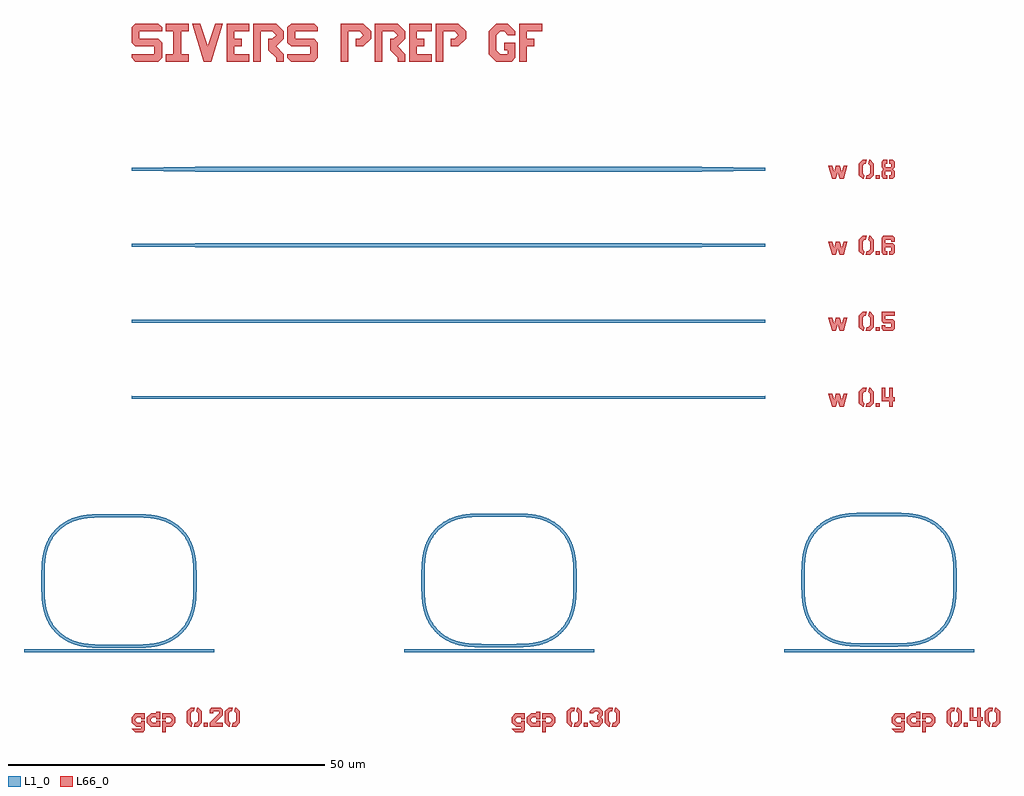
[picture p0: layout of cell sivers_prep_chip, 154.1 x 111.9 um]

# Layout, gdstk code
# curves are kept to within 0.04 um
from math import pi, radians
import gdstk
lib = gdstk.Library(unit=1e-6, precision=1e-09)
def R(c, l, rs):  # rectangles x0, y0, x1, y1
    for r in rs: c.add(gdstk.rectangle(r[:2], r[2:], *l))
def P(c, l, *ps):  # polygons
    for p in ps: c.add(gdstk.Polygon(p, *l))
L1_0 = (1, 0)
L66_0 = (66, 0)

coupler_ring_gdsfactoryp = lib.new_cell('coupler_ring_gdsfactorypcomponentspcouplerspcoupler_rin_cc478902')
R(coupler_ring_gdsfactoryp, L1_0, [(-17,-0.25,13,0.25)])
P(coupler_ring_gdsfactoryp, L1_0, [(-4.416,0.45),(-6.935,0.556),(-7.915,0.703),(-8.883,0.944),(-9.819,1.302),(-10.579,1.708),(-11.397,2.29),(-12.029,2.874),(-12.588,3.529),(-13.137,4.369),(-13.567,5.277),(-13.836,6.091),(-14.048,7.064),(-14.171,8.046),(-14.25,10.7),(-13.75,10.7),(-13.731,9.045),(-13.647,7.819),(-13.48,6.748),(-13.194,5.71),(-12.887,4.969),(-12.495,4.269),(-11.575,3.125),(-10.869,2.511),(-10.203,2.065),(-9.488,1.701),(-8.735,1.422),(-7.952,1.22),(-6.881,1.053),(-4.415,0.95),(1.243,0.958),(3.016,1.069),(4.084,1.249),(4.99,1.506),(5.731,1.813),(6.543,2.278),(7.283,2.85),(7.938,3.518),(8.495,4.269),(8.999,5.212),(9.353,6.223),(9.596,7.415),(9.719,8.772),(9.75,10.7),(10.25,10.7),(10.225,8.888),(10.128,7.625),(9.939,6.506),(9.618,5.411),(9.137,4.369),(8.5,3.415),(7.826,2.671),(6.939,1.944),(6.078,1.427),(5.289,1.082),(4.332,0.793),(3.216,0.59),(1.253,0.458)])

bend_euler_gdsfactorypco = lib.new_cell('bend_euler_gdsfactorypcomponentspbendspbend_euler_R10_A_a86bc407')
P(bend_euler_gdsfactorypco, L1_0, [(0,-0.25),(0,0.25),(1.655,0.269),(2.881,0.353),(3.952,0.52),(4.99,0.806),(5.731,1.113),(6.431,1.505),(7.575,2.425),(8.495,3.569),(8.887,4.269),(9.194,5.01),(9.48,6.048),(9.647,7.119),(9.731,8.345),(9.75,10),(10.25,10),(10.158,7.205),(10.023,6.224),(9.797,5.254),(9.457,4.312),(9.066,3.545),(8.5,2.715),(7.928,2.072),(7.285,1.5),(6.455,0.934),(5.688,0.543),(4.746,0.203),(3.776,-0.023),(2.795,-0.158)])

straight_gdsfactorypcomp = lib.new_cell('straight_gdsfactorypcomponentspwaveguidespstraight_L4_N_a6eac62c')
R(straight_gdsfactorypcomp, L1_0, [(0,-0.25,4,0.25)])

c_straight_gdsfactorypcomp = lib.new_cell('straight_gdsfactorypcomponentspwaveguidespstraight_L0p6_058e2168')
R(c_straight_gdsfactorypcomp, L1_0, [(0,-0.25,0.6,0.25)])

ring_single_gdsfactorypc = lib.new_cell('ring_single_gdsfactorypcomponentspringspring_single_G0p_35845a8c')
ring_single_gdsfactorypc.add(gdstk.Reference(coupler_ring_gdsfactoryp, (0,0)))
ring_single_gdsfactorypc.add(gdstk.Reference(bend_euler_gdsfactorypco, (-4,21.3), rotation=pi))
ring_single_gdsfactorypc.add(gdstk.Reference(bend_euler_gdsfactorypco, (10,11.3), rotation=pi/2))
ring_single_gdsfactorypc.add(gdstk.Reference(straight_gdsfactorypcomp, (0,21.3), rotation=pi))
ring_single_gdsfactorypc.add(gdstk.Reference(c_straight_gdsfactorypcomp, (-14,10.7), rotation=pi/2))
ring_single_gdsfactorypc.add(gdstk.Reference(c_straight_gdsfactorypcomp, (10,11.3), rotation=3*pi/2))

text_gdsfactorypcomponen = lib.new_cell('text_gdsfactorypcomponentsptextsptext_Tgap_0p20_S3_P0_0_d8aa2db2')
R(text_gdsfactorypcomponen, L66_0, [(11.4,0,12,0.6)])
P(text_gdsfactorypcomponen, L66_0, [(0.6,-0.9),(0,-0.3),(1.5,-0.3),(1.5,0),(0.702,0),(0,0.6),(0,1.5),(0.6,2.1),(2.1,2.1),(2.1,1.2),(1.5,1.2),(1.5,1.5),(0.9,1.5),(0.6,1.2),(0.6,0.9),(0.9,0.6),(1.5,0.6),(1.5,0.9),(2.1,0.9),(2.1,-0.6),(1.8,-0.9)],
  [(4.8,-0.9),(4.8,0.9),(5.4,0.9),(5.4,0.6),(6,0.6),(6.3,0.9),(6.3,1.2),(6,1.5),(5.4,1.5),(5.4,1.2),(4.8,1.2),(4.8,2.1),(6.3,2.1),(6.9,1.5),(6.9,0.6),(6.3,0),(5.4,0),(5.4,-0.9)],
  [(3,0),(2.4,0.6),(2.4,1.5),(3.102,2.1),(3.9,2.1),(3.9,2.325),(4.5,2.325),(4.5,1.2),(3.9,1.2),(3.9,1.5),(3.3,1.5),(3,1.2),(3,0.9),(3.3,0.6),(3.9,0.6),(3.9,0.9),(4.5,0.9),(4.5,0)],
  [(9.3,0),(8.7,0.6),(8.7,2.4),(9.3,3),(9.99,3),(9.84,2.4),(9.6,2.4),(9.3,2.1),(9.3,0.9),(9.6,0.6),(9.45,0)],
  [(9.81,0),(9.96,0.6),(10.2,0.6),(10.5,0.9),(10.5,2.1),(10.2,2.4),(10.35,3),(10.5,3),(11.1,2.4),(11.1,0.6),(10.5,0)],
  [(12.3,0),(12.3,0.6),(13.8,2.1),(13.8,2.4),(12.9,2.4),(12.9,2.1),(12.3,2.1),(12.3,2.7),(12.6,3),(14.1,3),(14.4,2.7),(14.4,1.8),(13.2,0.6),(14.4,0.6),(14.4,0)],
  [(15.3,0),(14.7,0.6),(14.7,2.4),(15.3,3),(15.99,3),(15.84,2.4),(15.6,2.4),(15.3,2.1),(15.3,0.9),(15.6,0.6),(15.45,0)],
  [(15.81,0),(15.96,0.6),(16.2,0.6),(16.5,0.9),(16.5,2.1),(16.2,2.4),(16.35,3),(16.5,3),(17.1,2.4),(17.1,0.6),(16.5,0)])

c_coupler_ring_gdsfactoryp = lib.new_cell('coupler_ring_gdsfactorypcomponentspcouplerspcoupler_rin_85e0116d')
R(c_coupler_ring_gdsfactoryp, L1_0, [(-17,-0.25,13,0.25)])
P(c_coupler_ring_gdsfactoryp, L1_0, [(-4.416,0.55),(-6.935,0.656),(-7.915,0.803),(-8.883,1.044),(-9.819,1.402),(-10.579,1.808),(-11.397,2.39),(-12.029,2.974),(-12.588,3.629),(-13.137,4.469),(-13.567,5.377),(-13.836,6.191),(-14.048,7.164),(-14.171,8.146),(-14.25,10.8),(-13.75,10.8),(-13.731,9.145),(-13.647,7.919),(-13.48,6.848),(-13.194,5.81),(-12.887,5.069),(-12.495,4.369),(-11.575,3.225),(-10.869,2.611),(-10.203,2.165),(-9.488,1.801),(-8.735,1.522),(-7.952,1.32),(-6.881,1.153),(-4.415,1.05),(1.243,1.058),(3.016,1.169),(4.084,1.349),(4.99,1.606),(5.731,1.913),(6.543,2.378),(7.283,2.95),(7.938,3.618),(8.495,4.369),(8.999,5.312),(9.353,6.323),(9.596,7.515),(9.719,8.872),(9.75,10.8),(10.25,10.8),(10.225,8.988),(10.128,7.725),(9.939,6.606),(9.618,5.511),(9.137,4.469),(8.5,3.515),(7.826,2.771),(6.939,2.044),(6.078,1.527),(5.289,1.182),(4.332,0.893),(3.216,0.69),(1.253,0.558)])

c_ring_single_gdsfactorypc = lib.new_cell('ring_single_gdsfactorypcomponentspringspring_single_G0p_d67012c7')
c_ring_single_gdsfactorypc.add(gdstk.Reference(c_coupler_ring_gdsfactoryp, (0,0)))
c_ring_single_gdsfactorypc.add(gdstk.Reference(bend_euler_gdsfactorypco, (-4,21.4), rotation=pi))
c_ring_single_gdsfactorypc.add(gdstk.Reference(bend_euler_gdsfactorypco, (10,11.4), rotation=pi/2))
c_ring_single_gdsfactorypc.add(gdstk.Reference(straight_gdsfactorypcomp, (0,21.4), rotation=pi))
c_ring_single_gdsfactorypc.add(gdstk.Reference(c_straight_gdsfactorypcomp, (-14,10.8), rotation=pi/2))
c_ring_single_gdsfactorypc.add(gdstk.Reference(c_straight_gdsfactorypcomp, (10,11.4), rotation=3*pi/2))

c_text_gdsfactorypcomponen = lib.new_cell('text_gdsfactorypcomponentsptextsptext_Tgap_0p30_S3_P0_0_021a1ff8')
R(c_text_gdsfactorypcomponen, L66_0, [(11.4,0,12,0.6)])
P(c_text_gdsfactorypcomponen, L66_0, [(0.6,-0.9),(0,-0.3),(1.5,-0.3),(1.5,0),(0.702,0),(0,0.6),(0,1.5),(0.6,2.1),(2.1,2.1),(2.1,1.2),(1.5,1.2),(1.5,1.5),(0.9,1.5),(0.6,1.2),(0.6,0.9),(0.9,0.6),(1.5,0.6),(1.5,0.9),(2.1,0.9),(2.1,-0.6),(1.8,-0.9)],
  [(4.8,-0.9),(4.8,0.9),(5.4,0.9),(5.4,0.6),(6,0.6),(6.3,0.9),(6.3,1.2),(6,1.5),(5.4,1.5),(5.4,1.2),(4.8,1.2),(4.8,2.1),(6.3,2.1),(6.9,1.5),(6.9,0.6),(6.3,0),(5.4,0),(5.4,-0.9)],
  [(3,0),(2.4,0.6),(2.4,1.5),(3.102,2.1),(3.9,2.1),(3.9,2.325),(4.5,2.325),(4.5,1.2),(3.9,1.2),(3.9,1.5),(3.3,1.5),(3,1.2),(3,0.9),(3.3,0.6),(3.9,0.6),(3.9,0.9),(4.5,0.9),(4.5,0)],
  [(9.3,0),(8.7,0.6),(8.7,2.4),(9.3,3),(9.99,3),(9.84,2.4),(9.6,2.4),(9.3,2.1),(9.3,0.9),(9.6,0.6),(9.45,0)],
  [(9.81,0),(9.96,0.6),(10.2,0.6),(10.5,0.9),(10.5,2.1),(10.2,2.4),(10.35,3),(10.5,3),(11.1,2.4),(11.1,0.6),(10.5,0)],
  [(12.9,0),(12.3,0.6),(12.3,0.9),(12.9,0.9),(13.2,0.6),(13.5,0.6),(13.8,0.9),(13.5,1.2),(13.5,1.8),(13.8,2.1),(13.5,2.4),(13.2,2.4),(12.9,2.1),(12.3,2.1),(12.3,2.4),(12.9,3),(13.8,3),(14.4,2.4),(14.4,1.8),(14.1,1.5),(14.4,1.2),(14.4,0.6),(13.8,0)],
  [(15.3,0),(14.7,0.6),(14.7,2.4),(15.3,3),(15.99,3),(15.84,2.4),(15.6,2.4),(15.3,2.1),(15.3,0.9),(15.6,0.6),(15.45,0)],
  [(15.81,0),(15.96,0.6),(16.2,0.6),(16.5,0.9),(16.5,2.1),(16.2,2.4),(16.35,3),(16.5,3),(17.1,2.4),(17.1,0.6),(16.5,0)])

c_coupler_ring_gdsfactoryp_ = lib.new_cell('coupler_ring_gdsfactorypcomponentspcouplerspcoupler_rin_7df16834')
R(c_coupler_ring_gdsfactoryp_, L1_0, [(-17,-0.25,13,0.25)])
P(c_coupler_ring_gdsfactoryp_, L1_0, [(-4.416,0.65),(-6.935,0.756),(-7.915,0.903),(-8.883,1.144),(-9.819,1.502),(-10.579,1.908),(-11.397,2.49),(-12.029,3.074),(-12.588,3.729),(-13.137,4.569),(-13.567,5.477),(-13.836,6.291),(-14.048,7.264),(-14.171,8.246),(-14.25,10.9),(-13.75,10.9),(-13.731,9.245),(-13.647,8.019),(-13.48,6.948),(-13.194,5.91),(-12.887,5.169),(-12.495,4.469),(-11.575,3.325),(-10.869,2.711),(-10.203,2.265),(-9.488,1.901),(-8.735,1.622),(-7.952,1.42),(-6.881,1.253),(-4.415,1.15),(1.243,1.158),(3.016,1.269),(4.084,1.449),(4.99,1.706),(5.731,2.013),(6.543,2.478),(7.283,3.05),(7.938,3.718),(8.495,4.469),(8.999,5.412),(9.353,6.423),(9.596,7.615),(9.719,8.972),(9.75,10.9),(10.25,10.9),(10.225,9.088),(10.128,7.825),(9.939,6.706),(9.618,5.611),(9.137,4.569),(8.5,3.615),(7.826,2.871),(6.939,2.144),(6.078,1.627),(5.289,1.282),(4.332,0.993),(3.216,0.79),(1.253,0.658)])

c_ring_single_gdsfactorypc_ = lib.new_cell('ring_single_gdsfactorypcomponentspringspring_single_G0p_bc0b71c4')
c_ring_single_gdsfactorypc_.add(gdstk.Reference(c_coupler_ring_gdsfactoryp_, (0,0)))
c_ring_single_gdsfactorypc_.add(gdstk.Reference(bend_euler_gdsfactorypco, (-4,21.5), rotation=pi))
c_ring_single_gdsfactorypc_.add(gdstk.Reference(bend_euler_gdsfactorypco, (10,11.5), rotation=pi/2))
c_ring_single_gdsfactorypc_.add(gdstk.Reference(straight_gdsfactorypcomp, (0,21.5), rotation=pi))
c_ring_single_gdsfactorypc_.add(gdstk.Reference(c_straight_gdsfactorypcomp, (-14,10.9), rotation=pi/2))
c_ring_single_gdsfactorypc_.add(gdstk.Reference(c_straight_gdsfactorypcomp, (10,11.5), rotation=3*pi/2))

c_text_gdsfactorypcomponen_ = lib.new_cell('text_gdsfactorypcomponentsptextsptext_Tgap_0p40_S3_P0_0_ff5c70d0')
R(c_text_gdsfactorypcomponen_, L66_0, [(11.4,0,12,0.6)])
P(c_text_gdsfactorypcomponen_, L66_0, [(0.6,-0.9),(0,-0.3),(1.5,-0.3),(1.5,0),(0.702,0),(0,0.6),(0,1.5),(0.6,2.1),(2.1,2.1),(2.1,1.2),(1.5,1.2),(1.5,1.5),(0.9,1.5),(0.6,1.2),(0.6,0.9),(0.9,0.6),(1.5,0.6),(1.5,0.9),(2.1,0.9),(2.1,-0.6),(1.8,-0.9)],
  [(4.8,-0.9),(4.8,0.9),(5.4,0.9),(5.4,0.6),(6,0.6),(6.3,0.9),(6.3,1.2),(6,1.5),(5.4,1.5),(5.4,1.2),(4.8,1.2),(4.8,2.1),(6.3,2.1),(6.9,1.5),(6.9,0.6),(6.3,0),(5.4,0),(5.4,-0.9)],
  [(3,0),(2.4,0.6),(2.4,1.5),(3.102,2.1),(3.9,2.1),(3.9,2.325),(4.5,2.325),(4.5,1.2),(3.9,1.2),(3.9,1.5),(3.3,1.5),(3,1.2),(3,0.9),(3.3,0.6),(3.9,0.6),(3.9,0.9),(4.5,0.9),(4.5,0)],
  [(9.3,0),(8.7,0.6),(8.7,2.4),(9.3,3),(9.99,3),(9.84,2.4),(9.6,2.4),(9.3,2.1),(9.3,0.9),(9.6,0.6),(9.45,0)],
  [(9.81,0),(9.96,0.6),(10.2,0.6),(10.5,0.9),(10.5,2.1),(10.2,2.4),(10.35,3),(10.5,3),(11.1,2.4),(11.1,0.6),(10.5,0)],
  [(13.5,0),(13.5,0.9),(12.3,0.9),(12.3,3),(12.9,3),(12.9,1.5),(13.5,1.5),(13.5,3),(14.1,3),(14.1,1.5),(14.4,1.5),(14.4,0.9),(14.1,0.9),(14.1,0)],
  [(15.3,0),(14.7,0.6),(14.7,2.4),(15.3,3),(15.99,3),(15.84,2.4),(15.6,2.4),(15.3,2.1),(15.3,0.9),(15.6,0.6),(15.45,0)],
  [(15.81,0),(15.96,0.6),(16.2,0.6),(16.5,0.9),(16.5,2.1),(16.2,2.4),(16.35,3),(16.5,3),(17.1,2.4),(17.1,0.6),(16.5,0)])

taper_gdsfactorypcompone = lib.new_cell('taper_gdsfactorypcomponentsptapersptaper_L10_W0p5_W0p4__faf3a83c')
P(taper_gdsfactorypcompone, L1_0, [(0,-0.25),(0,0.25),(10,0.2),(10,-0.2)])

c_straight_gdsfactorypcomp_ = lib.new_cell('straight_gdsfactorypcomponentspwaveguidespstraight_L80__6e1e9c16')
R(c_straight_gdsfactorypcomp_, L1_0, [(0,-0.2,80,0.2)])

c_taper_gdsfactorypcompone = lib.new_cell('taper_gdsfactorypcomponentsptapersptaper_L10_W0p4_W0p5__f95464b9')
P(c_taper_gdsfactorypcompone, L1_0, [(10,-0.25),(0,-0.2),(0,0.2),(10,0.25)])

c_text_gdsfactorypcomponen__ = lib.new_cell('text_gdsfactorypcomponentsptextsptext_Tw_0p4_S3_P0_0_Jleft_L66_0')
R(c_text_gdsfactorypcomponen__, L66_0, [(7.5,0,8.1,0.6)])
P(c_text_gdsfactorypcomponen__, L66_0, [(0.6,0),(0,2.1),(0.6,2.1),(0.9,1.05),(1.2,2.1),(1.8,2.1),(2.1,1.05),(2.4,2.1),(3,2.1),(2.4,0),(1.8,0),(1.5,1.05),(1.2,0)],
  [(5.4,0),(4.8,0.6),(4.8,2.4),(5.4,3),(6.09,3),(5.94,2.4),(5.7,2.4),(5.4,2.1),(5.4,0.9),(5.7,0.6),(5.55,0)],
  [(5.91,0),(6.06,0.6),(6.3,0.6),(6.6,0.9),(6.6,2.1),(6.3,2.4),(6.45,3),(6.6,3),(7.2,2.4),(7.2,0.6),(6.6,0)],
  [(9.6,0),(9.6,0.9),(8.4,0.9),(8.4,3),(9,3),(9,1.5),(9.6,1.5),(9.6,3),(10.2,3),(10.2,1.5),(10.5,1.5),(10.5,0.9),(10.2,0.9),(10.2,0)])

c_taper_gdsfactorypcompone_ = lib.new_cell('taper_gdsfactorypcomponentsptapersptaper_L10_W0p5_W0p5__2007a63f')
R(c_taper_gdsfactorypcompone_, L1_0, [(0,-0.25,10,0.25)])

c_straight_gdsfactorypcomp__ = lib.new_cell('straight_gdsfactorypcomponentspwaveguidespstraight_L80__2dddf9c8')
R(c_straight_gdsfactorypcomp__, L1_0, [(0,-0.25,80,0.25)])

c_text_gdsfactorypcomponen___ = lib.new_cell('text_gdsfactorypcomponentsptextsptext_Tw_0p5_S3_P0_0_Jleft_L66_0')
R(c_text_gdsfactorypcomponen___, L66_0, [(7.5,0,8.1,0.6)])
P(c_text_gdsfactorypcomponen___, L66_0, [(0.6,0),(0,2.1),(0.6,2.1),(0.9,1.05),(1.2,2.1),(1.8,2.1),(2.1,1.05),(2.4,2.1),(3,2.1),(2.4,0),(1.8,0),(1.5,1.05),(1.2,0)],
  [(5.4,0),(4.8,0.6),(4.8,2.4),(5.4,3),(6.09,3),(5.94,2.4),(5.7,2.4),(5.4,2.1),(5.4,0.9),(5.7,0.6),(5.55,0)],
  [(5.91,0),(6.06,0.6),(6.3,0.6),(6.6,0.9),(6.6,2.1),(6.3,2.4),(6.45,3),(6.6,3),(7.2,2.4),(7.2,0.6),(6.6,0)],
  [(8.7,0),(8.4,0.3),(8.4,0.9),(9,0.9),(9,0.6),(9.9,0.6),(9.9,1.2),(8.7,1.2),(8.4,1.5),(8.4,3),(10.5,3),(10.5,2.4),(9,2.4),(9,1.8),(10.2,1.8),(10.5,1.5),(10.5,0.3),(10.2,0)])

c_taper_gdsfactorypcompone__ = lib.new_cell('taper_gdsfactorypcomponentsptapersptaper_L10_W0p5_W0p6__038e1d8b')
P(c_taper_gdsfactorypcompone__, L1_0, [(10,-0.3),(0,-0.25),(0,0.25),(10,0.3)])

c_straight_gdsfactorypcomp___ = lib.new_cell('straight_gdsfactorypcomponentspwaveguidespstraight_L80__d9d5c0ac')
R(c_straight_gdsfactorypcomp___, L1_0, [(0,-0.3,80,0.3)])

c_taper_gdsfactorypcompone___ = lib.new_cell('taper_gdsfactorypcomponentsptapersptaper_L10_W0p6_W0p5__dd8068ad')
P(c_taper_gdsfactorypcompone___, L1_0, [(0,-0.3),(0,0.3),(10,0.25),(10,-0.25)])

c_text_gdsfactorypcomponen____ = lib.new_cell('text_gdsfactorypcomponentsptextsptext_Tw_0p6_S3_P0_0_Jleft_L66_0')
R(c_text_gdsfactorypcomponen____, L66_0, [(7.5,0,8.1,0.6)])
P(c_text_gdsfactorypcomponen____, L66_0, [(0.6,0),(0,2.1),(0.6,2.1),(0.9,1.05),(1.2,2.1),(1.8,2.1),(2.1,1.05),(2.4,2.1),(3,2.1),(2.4,0),(1.8,0),(1.5,1.05),(1.2,0)],
  [(5.4,0),(4.8,0.6),(4.8,2.4),(5.4,3),(6.09,3),(5.94,2.4),(5.7,2.4),(5.4,2.1),(5.4,0.9),(5.7,0.6),(5.55,0)],
  [(5.91,0),(6.06,0.6),(6.3,0.6),(6.6,0.9),(6.6,2.1),(6.3,2.4),(6.45,3),(6.6,3),(7.2,2.4),(7.2,0.6),(6.6,0)],
  [(8.7,0),(8.4,0.3),(8.4,2.7),(8.7,3),(10.2,3),(10.5,2.7),(10.5,2.1),(9.9,2.1),(9.9,2.4),(9,2.4),(9,1.8),(10.2,1.8),(10.5,1.5),(10.5,0.3),(10.2,0),(9.6,0),(9.6,0.6),(9.9,0.6),(9.9,1.2),(9,1.2),(9,0.6),(9.3,0.6),(9.3,0)])

c_taper_gdsfactorypcompone____ = lib.new_cell('taper_gdsfactorypcomponentsptapersptaper_L10_W0p5_W0p8__c53a663d')
P(c_taper_gdsfactorypcompone____, L1_0, [(10,-0.4),(0,-0.25),(0,0.25),(10,0.4)])

c_straight_gdsfactorypcomp____ = lib.new_cell('straight_gdsfactorypcomponentspwaveguidespstraight_L80__2616fbea')
R(c_straight_gdsfactorypcomp____, L1_0, [(0,-0.4,80,0.4)])

c_taper_gdsfactorypcompone_____ = lib.new_cell('taper_gdsfactorypcomponentsptapersptaper_L10_W0p8_W0p5__da63ba57')
P(c_taper_gdsfactorypcompone_____, L1_0, [(0,-0.4),(0,0.4),(10,0.25),(10,-0.25)])

c_text_gdsfactorypcomponen_____ = lib.new_cell('text_gdsfactorypcomponentsptextsptext_Tw_0p8_S3_P0_0_Jleft_L66_0')
R(c_text_gdsfactorypcomponen_____, L66_0, [(7.5,0,8.1,0.6)])
P(c_text_gdsfactorypcomponen_____, L66_0, [(0.6,0),(0,2.1),(0.6,2.1),(0.9,1.05),(1.2,2.1),(1.8,2.1),(2.1,1.05),(2.4,2.1),(3,2.1),(2.4,0),(1.8,0),(1.5,1.05),(1.2,0)],
  [(5.4,0),(4.8,0.6),(4.8,2.4),(5.4,3),(6.09,3),(5.94,2.4),(5.7,2.4),(5.4,2.1),(5.4,0.9),(5.7,0.6),(5.55,0)],
  [(5.91,0),(6.06,0.6),(6.3,0.6),(6.6,0.9),(6.6,2.1),(6.3,2.4),(6.45,3),(6.6,3),(7.2,2.4),(7.2,0.6),(6.6,0)],
  [(8.7,0),(8.4,0.3),(8.4,1.2),(8.7,1.5),(8.4,1.8),(8.4,2.7),(8.7,3),(9.3,3),(9.3,2.4),(9,2.4),(9,1.8),(9.9,1.8),(9.9,2.4),(9.6,2.4),(9.6,3),(10.2,3),(10.5,2.7),(10.5,1.8),(10.2,1.5),(10.5,1.2),(10.5,0.3),(10.2,0),(9.6,0),(9.6,0.6),(9.9,0.6),(9.9,1.2),(9,1.2),(9,0.6),(9.3,0.6),(9.3,0)])

c_text_gdsfactorypcomponen______ = lib.new_cell('text_gdsfactorypcomponentsptextsptext_TSIVERS_PREP_GF_S_ea1da21a')
P(c_text_gdsfactorypcomponen______, L66_0, [(0.6,0),(0,0.6),(0,1.2),(3.6,1.2),(3.6,2.4),(0.6,2.4),(0,3),(0,5.4),(0.6,6),(4.2,6),(4.8,5.4),(4.8,4.8),(1.2,4.8),(1.2,3.6),(4.2,3.6),(4.8,3),(4.8,0.6),(4.2,0)],
  [(5.4,0),(5.4,1.2),(6.6,1.2),(6.6,4.8),(5.4,4.8),(5.4,6),(9,6),(9,4.8),(7.8,4.8),(7.8,1.2),(9,1.2),(9,0)],
  [(11.4,0),(9.6,6),(10.8,6),(12,2.4),(13.2,6),(14.4,6),(12.6,0)],
  [(15,0),(15,6),(18.6,6),(18.6,4.8),(16.2,4.8),(16.2,3.6),(17.4,3.6),(17.4,2.4),(16.2,2.4),(16.2,1.2),(18.6,1.2),(18.6,0)],
  [(19.2,0),(19.2,6),(22.8,6),(24,4.8),(24,3.6),(22.8,2.4),(24,1.2),(24,0),(22.8,0),(22.8,0.6),(21.6,1.8),(21.6,3.6),(22.2,3.6),(22.8,4.2),(22.2,4.8),(20.4,4.8),(20.4,0)],
  [(25.2,0),(24.6,0.6),(24.6,1.2),(28.2,1.2),(28.2,2.4),(25.2,2.4),(24.6,3),(24.6,5.4),(25.2,6),(28.8,6),(29.4,5.4),(29.4,4.8),(25.8,4.8),(25.8,3.6),(28.8,3.6),(29.4,3),(29.4,0.6),(28.8,0)],
  [(33,0),(33,6),(36.6,6),(37.8,4.8),(37.8,3.6),(36.6,2.4),(35.4,2.4),(35.4,3.6),(36,3.6),(36.6,4.2),(36,4.8),(34.2,4.8),(34.2,0)],
  [(38.4,0),(38.4,6),(42,6),(43.2,4.8),(43.2,3.6),(42,2.4),(43.2,1.2),(43.2,0),(42,0),(42,0.6),(40.8,1.8),(40.8,3.6),(41.4,3.6),(42,4.2),(41.4,4.8),(39.6,4.8),(39.6,0)],
  [(43.8,0),(43.8,6),(47.4,6),(47.4,4.8),(45,4.8),(45,3.6),(46.2,3.6),(46.2,2.4),(45,2.4),(45,1.2),(47.4,1.2),(47.4,0)],
  [(48,0),(48,6),(51.6,6),(52.8,4.8),(52.8,3.6),(51.6,2.4),(50.4,2.4),(50.4,3.6),(51,3.6),(51.6,4.2),(51,4.8),(49.2,4.8),(49.2,0)],
  [(57.6,0),(56.4,1.2),(56.4,4.8),(57.6,6),(59.4,6),(60.6,4.8),(60.6,4.2),(59.4,4.2),(58.8,4.8),(58.2,4.8),(57.6,4.2),(57.6,1.8),(58.2,1.2),(59.4,1.2),(59.4,1.8),(58.8,1.8),(58.8,3),(60.6,3),(60.6,0.6),(60,0)],
  [(61.2,0),(61.2,6),(64.8,6),(64.8,4.8),(62.4,4.8),(62.4,3.6),(63.6,3.6),(63.6,2.4),(62.4,2.4),(62.4,0)])

sivers_prep_chip = lib.new_cell('sivers_prep_chip')
sivers_prep_chip.add(gdstk.Reference(ring_single_gdsfactorypc, (0,0)))
sivers_prep_chip.add(gdstk.Reference(text_gdsfactorypcomponen, (0,-12)))
sivers_prep_chip.add(gdstk.Reference(c_ring_single_gdsfactorypc, (60,0)))
sivers_prep_chip.add(gdstk.Reference(c_text_gdsfactorypcomponen, (60,-12)))
sivers_prep_chip.add(gdstk.Reference(c_ring_single_gdsfactorypc_, (120,0)))
sivers_prep_chip.add(gdstk.Reference(c_text_gdsfactorypcomponen_, (120,-12)))
sivers_prep_chip.add(gdstk.Reference(taper_gdsfactorypcompone, (0,40)))
sivers_prep_chip.add(gdstk.Reference(c_straight_gdsfactorypcomp_, (10,40)))
sivers_prep_chip.add(gdstk.Reference(c_taper_gdsfactorypcompone, (90,40)))
sivers_prep_chip.add(gdstk.Reference(c_text_gdsfactorypcomponen__, (110,38.5)))
sivers_prep_chip.add(gdstk.Reference(c_taper_gdsfactorypcompone_, (0,52)))
sivers_prep_chip.add(gdstk.Reference(c_straight_gdsfactorypcomp__, (10,52)))
sivers_prep_chip.add(gdstk.Reference(c_taper_gdsfactorypcompone_, (90,52)))
sivers_prep_chip.add(gdstk.Reference(c_text_gdsfactorypcomponen___, (110,50.5)))
sivers_prep_chip.add(gdstk.Reference(c_taper_gdsfactorypcompone__, (0,64)))
sivers_prep_chip.add(gdstk.Reference(c_straight_gdsfactorypcomp___, (10,64)))
sivers_prep_chip.add(gdstk.Reference(c_taper_gdsfactorypcompone___, (90,64)))
sivers_prep_chip.add(gdstk.Reference(c_text_gdsfactorypcomponen____, (110,62.5)))
sivers_prep_chip.add(gdstk.Reference(c_taper_gdsfactorypcompone____, (0,76)))
sivers_prep_chip.add(gdstk.Reference(c_straight_gdsfactorypcomp____, (10,76)))
sivers_prep_chip.add(gdstk.Reference(c_taper_gdsfactorypcompone_____, (90,76)))
sivers_prep_chip.add(gdstk.Reference(c_text_gdsfactorypcomponen_____, (110,74.5)))
sivers_prep_chip.add(gdstk.Reference(c_text_gdsfactorypcomponen______, (0,93)))

lib.write_gds('sivers_prep_chip.gds')
